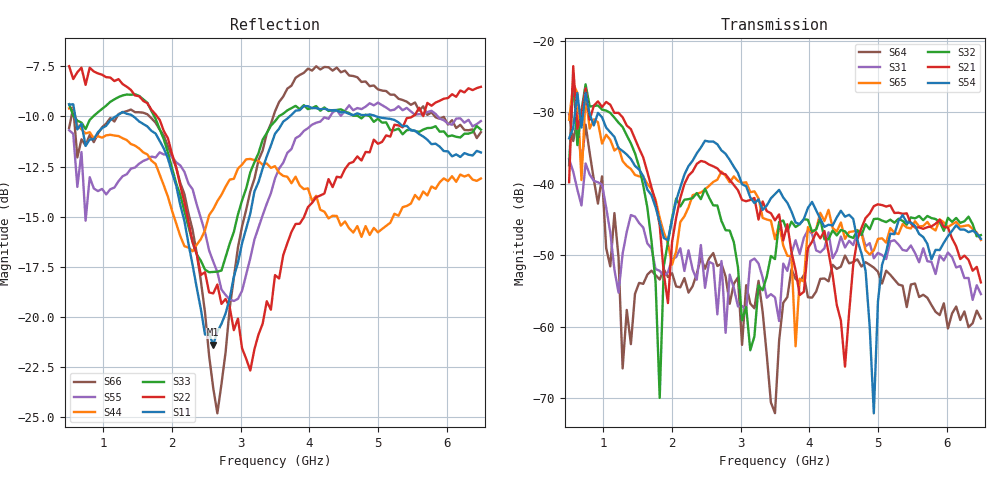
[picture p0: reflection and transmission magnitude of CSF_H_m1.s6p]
!Keysight Technologies,M9804A,MY58100912,A.14.10.03
!Date: Thursday, April 27, 2023 10:28:33
!Correction: S11(C  6-Port  )
!S12(C  6-Port  )
!S13(C  6-Port  )
!S14(C  6-Port  )
!S15(C  6-Port  )
!S16(C  6-Port  )
!S21(C  6-Port  )
!S22(C  6-Port  )
!S23(C  6-Port  )
!S24(C  6-Port  )
!S25(C  6-Port  )
!S26(C  6-Port  )
!S31(C  6-Port  )
!S32(C  6-Port  )
!S33(C  6-Port  )
!S34(C  6-Port  )
!S35(C  6-Port  )
!S36(C  6-Port  )
!S41(C  6-Port  )
!S42(C  6-Port  )
!S43(C  6-Port  )
!S44(C  6-Port  )
!S45(C  6-Port  )
!S46(C  6-Port  )
!S51(C  6-Port  )
!S52(C  6-Port  )
!S53(C  6-Port  )
!S54(C  6-Port  )
!S55(C  6-Port  )
!S56(C  6-Port  )
!S61(C  6-Port  )
!S62(C  6-Port  )
!S63(C  6-Port  )
!S64(C  6-Port  )
!S65(C  6-Port  )
!S66(C  6-Port  )
!S6P File: Measurement: :
# Hz S  RI  R 50
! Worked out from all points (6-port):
!   101 points, 500 MHz to 6.5 GHz, reference 50 ohm
!   strongest paths, dB at 500 MHz, 2 GHz, 3.5 GHz, 5 GHz, 6.5 GHz:
!     S54: -33.6, -45.1, -41.4, -56.4, -47.7
!     S21: -39.8, -48.1, -45.1, -42.9, -53.8
!     S32: -37.4, -44.8, -50.5, -44.9, -47.2
!     S65: -31.0, -51.3, -47.7, -47.7, -47.8
!     S31: -36.6, -50.5, -55.9, -49.6, -55.4
!     S64: -30.3, -52.5, -72.1, -52.3, -58.8
!   lowest |S11| = -21.4 dB at 2.6 GHz (marker M1), VSWR 1.19, Z = 42.4 + j2.14 ohm
!   |S11| at or under -10 dB: 589.1 MHz to 1.177 GHz (588.3 MHz wide, 66.6 % of centre); 1.437 GHz to 3.714 GHz (2.277 GHz wide, 88.4 % of centre); 4.98 GHz to end of sweep
